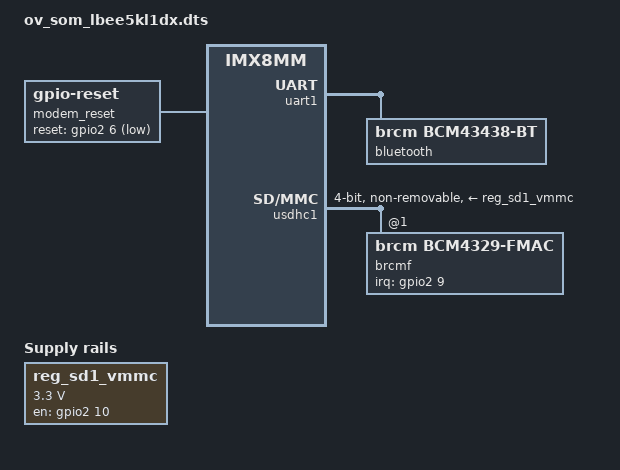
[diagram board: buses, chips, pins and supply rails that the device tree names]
/**
 * Portenta-M8 dtb overlay file
 * Arduino 2021
 * Enable modem LBEE5KL1DX (Wlan+Bluetooth) on Arduino Portenta-M8 SoM.
 * For the bluetooth functionality a serial port is created
 * with RTS CTS.
 * For the wifi functionality a sdio interface is used.
 * Gpios:
 * - GPIO2.6 controls bluetooth power en
 * - GPIO2.10 controls wifi power en
 */

/dts-v1/;
/plugin/;

#include <dt-bindings/gpio/gpio.h>
#include <dt-bindings/interrupt-controller/arm-gic.h>
#include <dt-bindings/clock/imx8mm-clock.h>
#include "imx8mm-pinfunc.h"

/* @TODO to be tested, then move into patch */
/* NOTE: DCE mode not inverted */
#define MX8MM_IOMUXC_SAI2_RXFS_UART1_DCE_TX                                 0x1B0 0x418 0x000 0x4 0x0
#define MX8MM_IOMUXC_SAI2_RXFS_UART1_DTE_RX                                 0x1B0 0x418 0x4F4 0x4 0x2
#define MX8MM_IOMUXC_SAI2_RXC_UART1_DCE_RX                                  0x1B4 0x41C 0x4F4 0x4 0x3
#define MX8MM_IOMUXC_SAI2_RXC_UART1_DTE_TX                                  0x1B4 0x41C 0x000 0x4 0x0
#define MX8MM_IOMUXC_SAI2_RXD0_UART1_DCE_RTS_B                              0x1B8 0x420 0x4F0 0x4 0x2
#define MX8MM_IOMUXC_SAI2_RXD0_UART1_DTE_CTS_B                              0x1B8 0x420 0x000 0x4 0x0
#define MX8MM_IOMUXC_SAI2_TXFS_UART1_DCE_CTS_B                              0x1BC 0x424 0x000 0x4 0x0
#define MX8MM_IOMUXC_SAI2_TXFS_UART1_DTE_RTS_B                              0x1BC 0x424 0x4F0 0x4 0x3

/ {
	compatible = "fsl,imx8mm-evk", "fsl,imx8mm";

	fragment@0 {
		target = <&iomuxc>;
		__overlay__ {
			imx8mm {
				pinctrl_uart1: uart1grp {
					fsl,pins = <
						MX8MM_IOMUXC_SAI2_RXC_UART1_DCE_RX      0x140
						MX8MM_IOMUXC_SAI2_RXFS_UART1_DCE_TX     0x140
						MX8MM_IOMUXC_SAI2_TXFS_UART1_DCE_CTS_B  0x140
						MX8MM_IOMUXC_SAI2_RXD0_UART1_DCE_RTS_B  0x140
						MX8MM_IOMUXC_SD1_DATA4_GPIO2_IO6        0x16 // BT_REG_ON
					>;
				};

				pinctrl_usdhc1_gpio: usdhc1grpgpio {
					fsl,pins = <
						MX8MM_IOMUXC_SD1_RESET_B_GPIO2_IO10         0x16 // WL_REG_ON
						MX8MM_IOMUXC_GPIO1_IO00_ANAMIX_REF_CLK_32K  0x141 // REF_CLK_32K
					>;
				};

				pinctrl_usdhc1: usdhc1grp {
					fsl,pins = <
						MX8MM_IOMUXC_SD1_CLK_USDHC1_CLK		0x190
						MX8MM_IOMUXC_SD1_CMD_USDHC1_CMD		0x1d0
						MX8MM_IOMUXC_SD1_DATA0_USDHC1_DATA0	0x1d0
						MX8MM_IOMUXC_SD1_DATA1_USDHC1_DATA1	0x1d0
						MX8MM_IOMUXC_SD1_DATA2_USDHC1_DATA2	0x1d0
						MX8MM_IOMUXC_SD1_DATA3_USDHC1_DATA3	0x1d0
					>;
				};

				pinctrl_usdhc1_100mhz: usdhc1grp100mhz {
					fsl,pins = <
						MX8MM_IOMUXC_SD1_CLK_USDHC1_CLK		0x194
						MX8MM_IOMUXC_SD1_CMD_USDHC1_CMD		0x1d4
						MX8MM_IOMUXC_SD1_DATA0_USDHC1_DATA0	0x1d4
						MX8MM_IOMUXC_SD1_DATA1_USDHC1_DATA1	0x1d4
						MX8MM_IOMUXC_SD1_DATA2_USDHC1_DATA2	0x1d4
						MX8MM_IOMUXC_SD1_DATA3_USDHC1_DATA3	0x1d4
					>;
				};

				pinctrl_usdhc1_200mhz: usdhc1grp200mhz {
					fsl,pins = <
						MX8MM_IOMUXC_SD1_CLK_USDHC1_CLK		0x196
						MX8MM_IOMUXC_SD1_CMD_USDHC1_CMD		0x1d6
						MX8MM_IOMUXC_SD1_DATA0_USDHC1_DATA0	0x1d6
						MX8MM_IOMUXC_SD1_DATA1_USDHC1_DATA1	0x1d6
						MX8MM_IOMUXC_SD1_DATA2_USDHC1_DATA2	0x1d6
						MX8MM_IOMUXC_SD1_DATA3_USDHC1_DATA3	0x1d6
					>;
				};
			};
		};
	};

	fragment@1 {
		target-path = "/";
		__overlay__ {
			reg_sd1_vmmc: sd1_regulator {
				compatible = "regulator-fixed";
				regulator-name = "wlan-power-en";
				regulator-min-microvolt = <3300000>;
				regulator-max-microvolt = <3300000>;
				gpio = <&gpio2 10 GPIO_ACTIVE_HIGH>;
				off-on-delay-us = <20000>;
				startup-delay-us = <100>;
				enable-active-high;
			};
		};
	};

	fragment@2 {
		target-path = "/";
		__overlay__ {
			modem_reset: modem-reset {
				compatible = "gpio-reset";
				reset-gpios = <&gpio2 6 GPIO_ACTIVE_LOW>;
				reset-delay-us = <2000>;
				reset-post-delay-ms = <40>;
				#reset-cells = <0>;
			};
		};
	};

	fragment@3 {
		target = <&uart1>;
		__overlay__ {
			pinctrl-names = "default";
			pinctrl-0 = <&pinctrl_uart1>;
			assigned-clocks = <&clk IMX8MM_CLK_UART1>;
			assigned-clock-parents = <&clk IMX8MM_SYS_PLL1_80M>;
			uart-has-rtscts;
			resets = <&modem_reset>;
			status = "okay";

			bluetooth {
				compatible = "brcm,bcm43438-bt";
			};
		};
	};

	fragment@4 {
		target = <&usdhc1>;
		__overlay__ {
			#address-cells = <1>;
			#size-cells = <0>;
			pinctrl-names = "default", "state_100mhz", "state_200mhz";
			pinctrl-0 = <&pinctrl_usdhc1>, <&pinctrl_usdhc1_gpio>;
			pinctrl-1 = <&pinctrl_usdhc1_100mhz>, <&pinctrl_usdhc1_gpio>;
			pinctrl-2 = <&pinctrl_usdhc1_200mhz>, <&pinctrl_usdhc1_gpio>;
			bus-width = <4>;
			vmmc-supply = <&reg_sd1_vmmc>;
			pm-ignore-notify;
			keep-power-in-suspend;
			non-removable;
			status = "okay";

			brcmf: bcrmf@1 {
				reg = <1>;
				compatible = "brcm,bcm4329-fmac";
				interrupt-parent = <&gpio2>;
				interrupts = <9 IRQ_TYPE_LEVEL_HIGH>;
				interrupt-names = "host-wake";
			};
		};
	};
};
